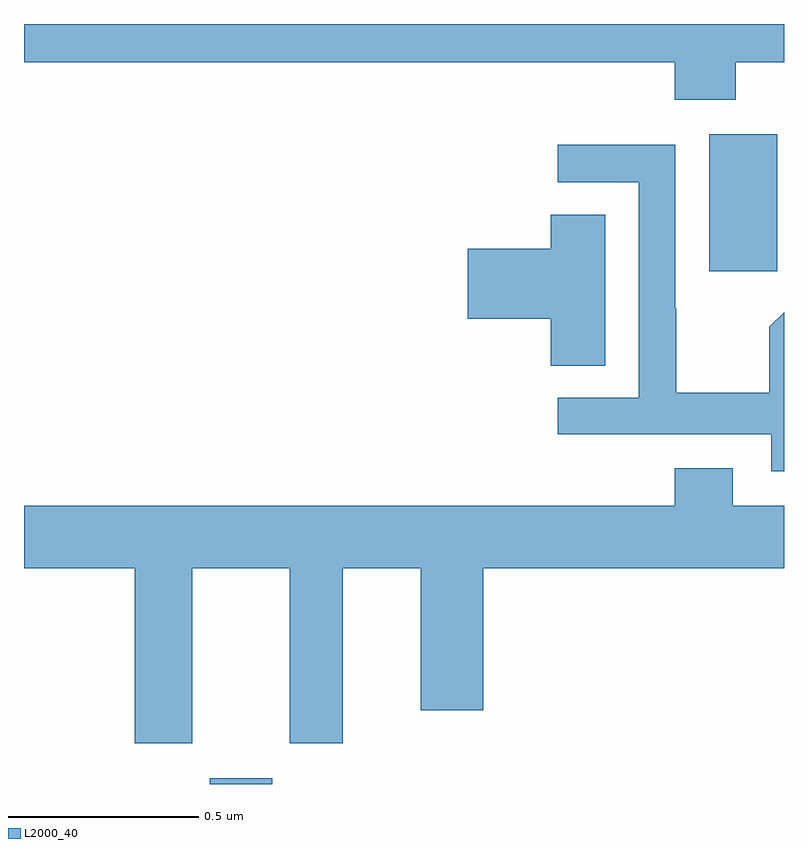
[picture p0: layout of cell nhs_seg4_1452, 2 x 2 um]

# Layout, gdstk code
import gdstk
lib = gdstk.Library(unit=1e-6, precision=1e-09)
def R(c, l, rs):  # rectangles x0, y0, x1, y1
    for r in rs: c.add(gdstk.rectangle(r[:2], r[2:], *l))
def P(c, l, *ps):  # polygons
    for p in ps: c.add(gdstk.Polygon(p, *l))
L2000_40 = (2000, 40)

nhs_seg4_1452 = lib.new_cell('nhs_seg4_1452')
R(nhs_seg4_1452, L2000_40, [(128.489,814.9,128.653,814.915), (129.803,816.249,129.982,816.61)])
P(nhs_seg4_1452, L2000_40, [(129.873,816.8),(130,816.8),(130,816.9),(128,816.9),(128,816.8),(129.713,816.8),(129.713,816.701),(129.873,816.701)],
  [(130,816.142),(129.961,816.103),(129.961,815.929),(129.717,815.929),(129.717,816.152),(129.714,816.152),(129.714,816.582),(129.405,816.582),(129.405,816.483),(129.618,816.483),(129.618,815.916),(129.405,815.916),(129.405,815.82),(129.966,815.82),(129.966,815.723),(130,815.723)],
  [(129.529,816.398),(129.386,816.398),(129.386,816.308),(129.168,816.308),(129.168,816.125),(129.386,816.125),(129.386,816.001),(129.529,816.001)],
  [(128.443,815.468),(128.699,815.468),(128.699,815.007),(128.839,815.007),(128.839,815.468),(129.044,815.468),(129.044,815.094),(129.208,815.094),(129.208,815.468),(130,815.468),(130,815.632),(129.865,815.632),(129.865,815.731),(129.713,815.731),(129.713,815.632),(128,815.632),(128,815.468),(128.291,815.468),(128.291,815.007),(128.443,815.007)])

lib.write_gds('nhs_seg4_1452.gds')
